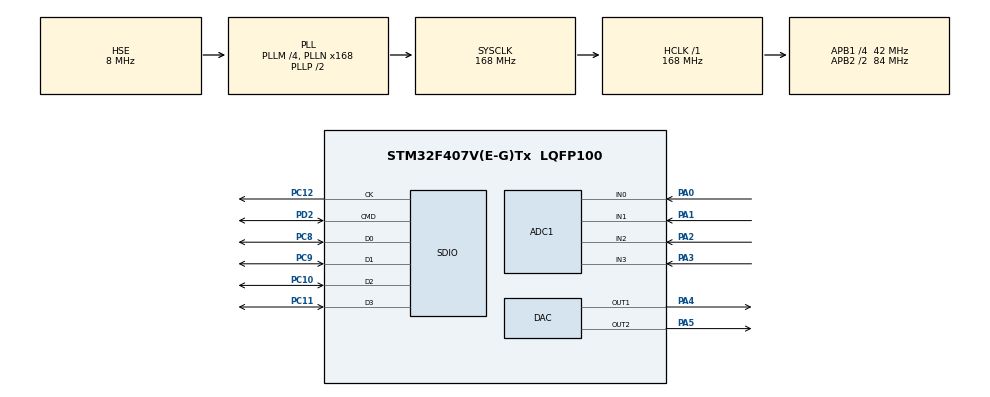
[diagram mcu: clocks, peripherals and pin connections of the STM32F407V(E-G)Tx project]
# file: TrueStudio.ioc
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ADC1.Channel-0\#ChannelRegularConversion=ADC_CHANNEL_0
ADC1.NbrOfConversionFlag=1
ADC1.Rank-0\#ChannelRegularConversion=1
ADC1.SamplingTime-0\#ChannelRegularConversion=ADC_SAMPLETIME_3CYCLES
ADC1.master=1
DAC.DAC_Trigger=DAC_TRIGGER_T6_TRGO
DAC.DAC_Trigger2=DAC_TRIGGER_T6_TRGO
Dma.DAC1.2.Direction=DMA_MEMORY_TO_PERIPH
Dma.DAC1.2.FIFOMode=DMA_FIFOMODE_DISABLE
Dma.DAC1.2.Instance=DMA1_Stream5
Dma.DAC1.2.MemDataAlignment=DMA_MDATAALIGN_BYTE
Dma.DAC1.2.MemInc=DMA_MINC_ENABLE
Dma.DAC1.2.Mode=DMA_NORMAL
Dma.DAC1.2.PeriphDataAlignment=DMA_PDATAALIGN_BYTE
Dma.DAC1.2.PeriphInc=DMA_PINC_DISABLE
Dma.DAC1.2.Priority=DMA_PRIORITY_LOW
Dma.DAC2.3.Direction=DMA_MEMORY_TO_PERIPH
Dma.DAC2.3.FIFOMode=DMA_FIFOMODE_DISABLE
Dma.DAC2.3.Instance=DMA1_Stream6
Dma.DAC2.3.MemDataAlignment=DMA_MDATAALIGN_BYTE
Dma.DAC2.3.MemInc=DMA_MINC_ENABLE
Dma.DAC2.3.Mode=DMA_NORMAL
Dma.DAC2.3.PeriphDataAlignment=DMA_PDATAALIGN_BYTE
Dma.DAC2.3.PeriphInc=DMA_PINC_DISABLE
Dma.DAC2.3.Priority=DMA_PRIORITY_LOW
Dma.Request0=SDIO_TX
Dma.Request1=SDIO_RX
Dma.Request2=DAC1
Dma.Request3=DAC2
Dma.SDIO_RX.1.Direction=DMA_PERIPH_TO_MEMORY
Dma.SDIO_RX.1.FIFOMode=DMA_FIFOMODE_ENABLE
Dma.SDIO_RX.1.FIFOThreshold=DMA_FIFO_THRESHOLD_FULL
Dma.SDIO_RX.1.Instance=DMA2_Stream6
Dma.SDIO_RX.1.MemBurst=DMA_MBURST_INC4
Dma.SDIO_RX.1.MemDataAlignment=DMA_MDATAALIGN_WORD
Dma.SDIO_RX.1.MemInc=DMA_MINC_ENABLE
Dma.SDIO_RX.1.Mode=DMA_PFCTRL
Dma.SDIO_RX.1.PeriphBurst=DMA_PBURST_INC4
Dma.SDIO_RX.1.PeriphDataAlignment=DMA_PDATAALIGN_WORD
Dma.SDIO_RX.1.PeriphInc=DMA_PINC_DISABLE
Dma.SDIO_RX.1.Priority=DMA_PRIORITY_LOW
Dma.SDIO_TX.0.Direction=DMA_MEMORY_TO_PERIPH
Dma.SDIO_TX.0.FIFOMode=DMA_FIFOMODE_ENABLE
Dma.SDIO_TX.0.FIFOThreshold=DMA_FIFO_THRESHOLD_FULL
Dma.SDIO_TX.0.Instance=DMA2_Stream3
Dma.SDIO_TX.0.MemBurst=DMA_MBURST_INC4
Dma.SDIO_TX.0.MemDataAlignment=DMA_MDATAALIGN_WORD
Dma.SDIO_TX.0.MemInc=DMA_MINC_ENABLE
Dma.SDIO_TX.0.Mode=DMA_PFCTRL
Dma.SDIO_TX.0.PeriphBurst=DMA_PBURST_INC4
Dma.SDIO_TX.0.PeriphDataAlignment=DMA_PDATAALIGN_WORD
Dma.SDIO_TX.0.PeriphInc=DMA_PINC_DISABLE
Dma.SDIO_TX.0.Priority=DMA_PRIORITY_LOW
FATFS._MAX_SS=4096
FATFS._USE_LFN=1
Mcu.Family=STM32F4
Mcu.Name=STM32F407V(E-G)Tx
Mcu.Package=LQFP100
NVIC.DMA1_Stream5_IRQn=true\:0\:0\:false\:false\:true\:false\:true
NVIC.DMA1_Stream6_IRQn=true\:0\:0\:false\:false\:true\:false\:true
NVIC.DMA2_Stream3_IRQn=true\:0\:0\:false\:false\:true\:false\:true
NVIC.DMA2_Stream6_IRQn=true\:0\:0\:false\:false\:true\:false\:true
NVIC.PriorityGroup=NVIC_PRIORITYGROUP_4
NVIC.SDIO_IRQn=true\:0\:0\:false\:false\:true\:true\:true
NVIC.TIM6_DAC_IRQn=true\:0\:0\:false\:false\:true\:true\:true
NVIC.TIM7_IRQn=true\:1\:0\:true\:false\:true\:true\:true
PA0-WKUP.Signal=ADCx_IN0
PA1.Signal=ADCx_IN1
PA2.Signal=ADCx_IN2
PA3.Signal=ADCx_IN3
PA4.Signal=COMP_DAC1_group
PA5.Signal=COMP_DAC2_group
PC10.Mode=SD_4_bits_Wide_bus
PC10.Signal=SDIO_D2
PC11.Mode=SD_4_bits_Wide_bus
PC11.Signal=SDIO_D3
PC12.Mode=SD_4_bits_Wide_bus
PC12.Signal=SDIO_CK
PC8.Mode=SD_4_bits_Wide_bus
PC8.Signal=SDIO_D0
PC9.Mode=SD_4_bits_Wide_bus
PC9.Signal=SDIO_D1
PD2.Mode=SD_4_bits_Wide_bus
PD2.Signal=SDIO_CMD
PH0-OSC_IN.Mode=HSE-External-Oscillator
PH0-OSC_IN.Signal=RCC_OSC_IN
PH1-OSC_OUT.Mode=HSE-External-Oscillator
PH1-OSC_OUT.Signal=RCC_OSC_OUT
ProjectManager.HeapSize=0x200
ProjectManager.StackSize=0x400
ProjectManager.TargetToolchain=TrueSTUDIO
RCC.48MHZClocksFreq_Value=48000000
RCC.AHBFreq_Value=168000000
RCC.APB1CLKDivider=RCC_HCLK_DIV4
RCC.APB1Freq_Value=42000000
RCC.APB1TimFreq_Value=84000000
RCC.APB2CLKDivider=RCC_HCLK_DIV2
RCC.APB2Freq_Value=84000000
RCC.APB2TimFreq_Value=168000000
RCC.CortexFreq_Value=168000000
RCC.HCLKFreq_Value=168000000
RCC.HSE_VALUE=8000000
RCC.HSI_VALUE=16000000
RCC.LSE_VALUE=32768
RCC.PLLM=4
RCC.PLLN=168
RCC.PLLQ=7
RCC.PLLSourceVirtual=RCC_PLLSOURCE_HSE
RCC.SYSCLKFreq_VALUE=168000000
RCC.SYSCLKSource=RCC_SYSCLKSOURCE_PLLCLK
RCC.VCOOutputFreq_Value=336000000
SH.ADCx_IN0.0=ADC1_IN0,IN0
SH.ADCx_IN1.0=ADC1_IN1,IN1
SH.ADCx_IN2.0=ADC1_IN2,IN2
SH.ADCx_IN3.0=ADC1_IN3,IN3
SH.COMP_DAC1_group.0=DAC_OUT1,DAC_OUT1
SH.COMP_DAC2_group.0=DAC_OUT2,DAC_OUT2
TIM6.Period=125-1
TIM6.Prescaler=21-1
TIM6.TIM_MasterOutputTrigger=TIM_TRGO_UPDATE
TIM7.Period=125-1
TIM7.Prescaler=21-1
TIM7.TIM_MasterOutputTrigger=TIM_TRGO_UPDATE
VP_FATFS_VS_SDIO.Mode=SDIO
VP_RNG_VS_RNG.Mode=RNG_Activate
VP_TIM6_VS_ClockSourceINT.Mode=Enable_Timer
VP_TIM7_VS_ClockSourceINT.Mode=Enable_Timer
board=custom

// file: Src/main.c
/* USER CODE BEGIN Header */
/**
  ******************************************************************************
  * @file           : main.c
  * @brief          : Main program body
  ******************************************************************************
  * @attention
  *
  * <h2><center>&copy; Copyright (c) 2020 STMicroelectronics.
  * All rights reserved.</center></h2>
  *
  * This software component is licensed by ST under Ultimate Liberty license
  * SLA0044, the "License"; You may not use this file except in compliance with
  * the License. You may obtain a copy of the License at:
  *                             www.st.com/SLA0044
  *
  ******************************************************************************
  */
/* USER CODE END Header */

#include "main.h"
#include "fatfs.h"

/* USER CODE BEGIN Includes */
#include <stdio.h>
#include <stdlib.h>
#include <string.h>

#include "ILI9481.h"
#include "TouchScreen.h"
#include "wav.h"

#include "File_Manager.app.h"
/* USER CODE END Includes */

ADC_HandleTypeDef hadc1;

DAC_HandleTypeDef hdac;
DMA_HandleTypeDef hdma_dac1;
DMA_HandleTypeDef hdma_dac2;

RNG_HandleTypeDef hrng;

SD_HandleTypeDef hsd;
DMA_HandleTypeDef hdma_sdio_tx;
DMA_HandleTypeDef hdma_sdio_rx;

TIM_HandleTypeDef htim6;
TIM_HandleTypeDef htim7;

void SystemClock_Config(void);
static void MX_GPIO_Init(void);
static void MX_ADC1_Init(void);
static void MX_SDIO_SD_Init(void);
static void MX_DMA_Init(void);
static void MX_RNG_Init(void);
static void MX_DAC_Init(void);
static void MX_TIM6_Init(void);
static void MX_TIM7_Init(void);

int main(void)
{

  /* MCU Configuration--------------------------------------------------------*/

  /* Reset of all peripherals, Initializes the Flash interface and the Systick. */
  HAL_Init();

  /* Configure the system clock */
  SystemClock_Config();

  /* Initialize all configured peripherals */
  MX_GPIO_Init();
  MX_ADC1_Init();
  MX_SDIO_SD_Init();
  MX_FATFS_Init();
  MX_DMA_Init();
  MX_RNG_Init();
  MX_DAC_Init();
  MX_TIM6_Init();
  MX_TIM7_Init();
  /* USER CODE BEGIN 2 */
	HAL_Delay(50);
	begin();
	setRotation(3);
	HAL_Delay(50);

	fillScreen(BLACK);

	fresult = f_mount(&fs, "", 1);
	if (fresult == FR_OK) {
		LOG("SD CARD mounted successfully...");

		//sprintf(STR, "480x320//%d.bin", i);
		//int t = drawImage(0, 0, "System//APPS//File_Manager//Music_Player//background.bimg");
		//text(INT_TO_STR(t), 460, 300);
	}
	else {
		LOG("SD CARD mount failed...");
		Error_Handler();
	}
	File_Manager_App();
  /* USER CODE END 2 */

  /* Infinite loop */
  /* USER CODE BEGIN WHILE */
	setTextColor(WHITE);
  while (1)
  {
    /* USER CODE END WHILE */

  }
}

void SystemClock_Config(void)
{
  RCC_OscInitTypeDef RCC_OscInitStruct = {0};
  RCC_ClkInitTypeDef RCC_ClkInitStruct = {0};

  /** Configure the main internal regulator output voltage
  */
  __HAL_RCC_PWR_CLK_ENABLE();
  __HAL_PWR_VOLTAGESCALING_CONFIG(PWR_REGULATOR_VOLTAGE_SCALE1);
  /** Initializes the CPU, AHB and APB busses clocks
  */
  RCC_OscInitStruct.OscillatorType = RCC_OSCILLATORTYPE_HSE;
  RCC_OscInitStruct.HSEState = RCC_HSE_ON;
  RCC_OscInitStruct.PLL.PLLState = RCC_PLL_ON;
  RCC_OscInitStruct.PLL.PLLSource = RCC_PLLSOURCE_HSE;
  RCC_OscInitStruct.PLL.PLLM = 4;
  RCC_OscInitStruct.PLL.PLLN = 168;
  RCC_OscInitStruct.PLL.PLLP = RCC_PLLP_DIV2;
  RCC_OscInitStruct.PLL.PLLQ = 7;
  if (HAL_RCC_OscConfig(&RCC_OscInitStruct) != HAL_OK)
  {
    Error_Handler();
  }
  /** Initializes the CPU, AHB and APB busses clocks
  */
  RCC_ClkInitStruct.ClockType = RCC_CLOCKTYPE_HCLK|RCC_CLOCKTYPE_SYSCLK
                              |RCC_CLOCKTYPE_PCLK1|RCC_CLOCKTYPE_PCLK2;
  RCC_ClkInitStruct.SYSCLKSource = RCC_SYSCLKSOURCE_PLLCLK;
  RCC_ClkInitStruct.AHBCLKDivider = RCC_SYSCLK_DIV1;
  RCC_ClkInitStruct.APB1CLKDivider = RCC_HCLK_DIV4;
  RCC_ClkInitStruct.APB2CLKDivider = RCC_HCLK_DIV2;

  if (HAL_RCC_ClockConfig(&RCC_ClkInitStruct, FLASH_LATENCY_5) != HAL_OK)
  {
    Error_Handler();
  }
}

static void MX_ADC1_Init(void)
{

  ADC_ChannelConfTypeDef sConfig = {0};

  /** Configure the global features of the ADC (Clock, Resolution, Data Alignment and number of conversion)
  */
  hadc1.Instance = ADC1;
  hadc1.Init.ClockPrescaler = ADC_CLOCK_SYNC_PCLK_DIV4;
  hadc1.Init.Resolution = ADC_RESOLUTION_12B;
  hadc1.Init.ScanConvMode = DISABLE;
  hadc1.Init.ContinuousConvMode = DISABLE;
  hadc1.Init.DiscontinuousConvMode = DISABLE;
  hadc1.Init.ExternalTrigConvEdge = ADC_EXTERNALTRIGCONVEDGE_NONE;
  hadc1.Init.ExternalTrigConv = ADC_SOFTWARE_START;
  hadc1.Init.DataAlign = ADC_DATAALIGN_RIGHT;
  hadc1.Init.NbrOfConversion = 1;
  hadc1.Init.DMAContinuousRequests = DISABLE;
  hadc1.Init.EOCSelection = ADC_EOC_SINGLE_CONV;
  if (HAL_ADC_Init(&hadc1) != HAL_OK)
  {
    Error_Handler();
  }
  /** Configure for the selected ADC regular channel its corresponding rank in the sequencer and its sample time.
  */
  sConfig.Channel = ADC_CHANNEL_0;
  sConfig.Rank = 1;
  sConfig.SamplingTime = ADC_SAMPLETIME_3CYCLES;
  if (HAL_ADC_ConfigChannel(&hadc1, &sConfig) != HAL_OK)
  {
    Error_Handler();
  }

}

static void MX_DAC_Init(void)
{

  DAC_ChannelConfTypeDef sConfig = {0};

  /** DAC Initialization
  */
  hdac.Instance = DAC;
  if (HAL_DAC_Init(&hdac) != HAL_OK)
  {
    Error_Handler();
  }
  /** DAC channel OUT1 config
  */
  sConfig.DAC_Trigger = DAC_TRIGGER_T6_TRGO;
  sConfig.DAC_OutputBuffer = DAC_OUTPUTBUFFER_ENABLE;
  if (HAL_DAC_ConfigChannel(&hdac, &sConfig, DAC_CHANNEL_1) != HAL_OK)
  {
    Error_Handler();
  }
  /** DAC channel OUT2 config
  */
  if (HAL_DAC_ConfigChannel(&hdac, &sConfig, DAC_CHANNEL_2) != HAL_OK)
  {
    Error_Handler();
  }

}

static void MX_RNG_Init(void)
{

  hrng.Instance = RNG;
  if (HAL_RNG_Init(&hrng) != HAL_OK)
  {
    Error_Handler();
  }

}

static void MX_SDIO_SD_Init(void)
{

  hsd.Instance = SDIO;
  hsd.Init.ClockEdge = SDIO_CLOCK_EDGE_RISING;
  hsd.Init.ClockBypass = SDIO_CLOCK_BYPASS_DISABLE;
  hsd.Init.ClockPowerSave = SDIO_CLOCK_POWER_SAVE_DISABLE;
  hsd.Init.BusWide = SDIO_BUS_WIDE_1B;
  hsd.Init.HardwareFlowControl = SDIO_HARDWARE_FLOW_CONTROL_DISABLE;
  hsd.Init.ClockDiv = 0;

}

static void MX_TIM6_Init(void)
{

  TIM_MasterConfigTypeDef sMasterConfig = {0};

  htim6.Instance = TIM6;
  htim6.Init.Prescaler = 21-1;
  htim6.Init.CounterMode = TIM_COUNTERMODE_UP;
  htim6.Init.Period = 125-1;
  htim6.Init.AutoReloadPreload = TIM_AUTORELOAD_PRELOAD_DISABLE;
  if (HAL_TIM_Base_Init(&htim6) != HAL_OK)
  {
    Error_Handler();
  }
  sMasterConfig.MasterOutputTrigger = TIM_TRGO_UPDATE;
  sMasterConfig.MasterSlaveMode = TIM_MASTERSLAVEMODE_DISABLE;
  if (HAL_TIMEx_MasterConfigSynchronization(&htim6, &sMasterConfig) != HAL_OK)
  {
    Error_Handler();
  }

}

static void MX_TIM7_Init(void)
{

  TIM_MasterConfigTypeDef sMasterConfig = {0};

  htim7.Instance = TIM7;
  htim7.Init.Prescaler = 21-1;
  htim7.Init.CounterMode = TIM_COUNTERMODE_UP;
  htim7.Init.Period = 125-1;
  htim7.Init.AutoReloadPreload = TIM_AUTORELOAD_PRELOAD_DISABLE;
  if (HAL_TIM_Base_Init(&htim7) != HAL_OK)
  {
    Error_Handler();
  }
  sMasterConfig.MasterOutputTrigger = TIM_TRGO_UPDATE;
  sMasterConfig.MasterSlaveMode = TIM_MASTERSLAVEMODE_DISABLE;
  if (HAL_TIMEx_MasterConfigSynchronization(&htim7, &sMasterConfig) != HAL_OK)
  {
    Error_Handler();
  }

}

static void MX_DMA_Init(void)
{

  /* DMA controller clock enable */
  __HAL_RCC_DMA2_CLK_ENABLE();
  __HAL_RCC_DMA1_CLK_ENABLE();

  /* DMA interrupt init */
  /* DMA1_Stream5_IRQn interrupt configuration */
  HAL_NVIC_SetPriority(DMA1_Stream5_IRQn, 0, 0);
  HAL_NVIC_EnableIRQ(DMA1_Stream5_IRQn);
  /* DMA1_Stream6_IRQn interrupt configuration */
  HAL_NVIC_SetPriority(DMA1_Stream6_IRQn, 0, 0);
  HAL_NVIC_EnableIRQ(DMA1_Stream6_IRQn);
  /* DMA2_Stream3_IRQn interrupt configuration */
  HAL_NVIC_SetPriority(DMA2_Stream3_IRQn, 0, 0);
  HAL_NVIC_EnableIRQ(DMA2_Stream3_IRQn);
  /* DMA2_Stream6_IRQn interrupt configuration */
  HAL_NVIC_SetPriority(DMA2_Stream6_IRQn, 0, 0);
  HAL_NVIC_EnableIRQ(DMA2_Stream6_IRQn);

}

static void MX_GPIO_Init(void)
{

  /* GPIO Ports Clock Enable */
  __HAL_RCC_GPIOH_CLK_ENABLE();
  __HAL_RCC_GPIOA_CLK_ENABLE();
  __HAL_RCC_GPIOC_CLK_ENABLE();
  __HAL_RCC_GPIOD_CLK_ENABLE();
  __HAL_RCC_GPIOE_CLK_ENABLE();

}

void Error_Handler(void)
{
}

/************************ (C) COPYRIGHT STMicroelectronics *****END OF FILE****/
